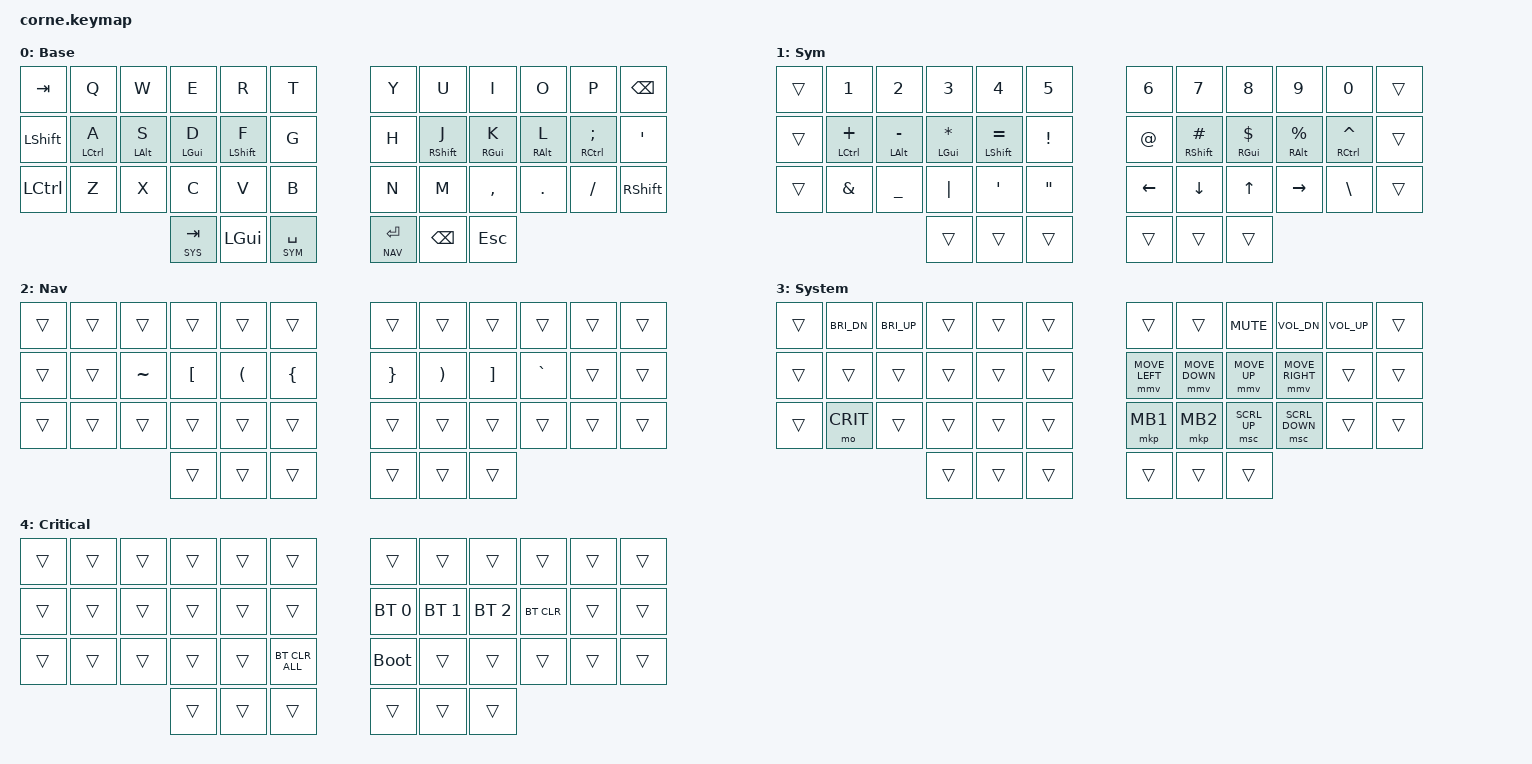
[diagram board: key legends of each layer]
#include <behaviors.dtsi>
#include <dt-bindings/zmk/bt.h>
#include <dt-bindings/zmk/keys.h>
#include "keys_de.h"
#include "qwertz_macos.h"
#define ZMK_POINTING_DEFAULT_MOVE_VAL 1500
#define ZMK_POINTING_DEFAULT_SCRL_VAL 20
#include <dt-bindings/zmk/pointing.h>


#define DEF 0
#define SYM 1
#define NAV 2
#define SYS 3
#define CRIT 4


/ {
    behaviors {
        hmm: homerow_mods {
            compatible = "zmk,behavior-hold-tap";
            #binding-cells = <2>;
            flavor = "balanced";
            tapping-term-ms = <280>;
            quick-tap-ms = <175>;
            require-prior-idle-ms = <150>;
            bindings = <&kp>, <&kp>;
            hold-trigger-on-release;
        };

        para: para {
            compatible = "zmk,behavior-tap-dance";
            #binding-cells = <0>;
            bindings = <&kp LEFT_PARENTHESIS>, <&kp RIGHT_PARENTHESIS>;
        };

        caps: caps {
            compatible = "zmk,behavior-caps-word";
            #binding-cells = <0>;
            continue-list = <MINUS BACKSPACE>;
        };

        paraless: paraless {
            compatible = "zmk,behavior-mod-morph";
            #binding-cells = <0>;
            bindings = <&kp LEFT_PARENTHESIS>, <&kp LESS_THAN>;
            mods = <(MOD_LSFT)>;
        };

        paragreat: paragreat {
            compatible = "zmk,behavior-mod-morph";
            #binding-cells = <0>;
            bindings = <&kp RIGHT_PARENTHESIS>, <&kp GREATER_THAN>;
            mods = <(MOD_LSFT)>;
        };


    };


    keymap {
        compatible = "zmk,keymap";

        DEF {
            display-name = "Base";
            bindings = <
&kp TAB    &kp Q        &kp W        &kp E       &kp R        &kp T        &kp Y    &kp U        &kp I          &kp O        &kp P               &kp BACKSPACE
&kp LSHFT  &hmm LCTRL A  &hmm LALT S   &hmm LGUI D  &hmm LSHFT F  &kp G        &kp H    &hmm RSHFT J  &hmm RGUI K     &hmm RALT L   &hmm RCTRL SEMICOLON &kp SQT
&kp LCTRL  &kp Z        &kp X        &kp C       &kp V        &kp B        &kp N    &kp M        &kp COMMA      &kp DOT      &kp SLASH           &kp RSHFT
                                     &lt SYS TAB    &kp LGUI       &lt SYM SPACE    &lt NAV RET  &kp BSPC       &kp ESC 
            >;
        };

        SYM {
            display-name = "Sym";
            bindings = <
&trans  &kp N1         &kp N2         &kp N3         &kp N4         &kp N5         &kp N6         &kp N7         &kp N8         &kp N9         &kp N0         &trans
&trans  &hmm LCTRL PLUS       &hmm LALT MINUS      &hmm LGUI STAR       &hmm LSHFT EQUAL      &kp EXCL       &kp AT         &hmm RSHFT HASH       &hmm RGUI DLLR       &hmm RALT PERCENT    &hmm RCTRL CARET      &trans
&trans  &kp AMPERSAND      &kp UNDERSCORE &kp PIPE       &kp SQT        &kp DQT        &kp LEFT       &kp DOWN       &kp UP         &kp RIGHT      &kp BSLH       &trans
                                       &trans        &trans         &trans         &trans         &trans         &trans
            >;
        };
 
        NAV {
            display-name = "Nav";
            bindings = <
&trans  &trans           &trans      &trans      &trans           &trans           &trans           &trans       &trans       &trans            &trans      &trans
&trans  &trans    &kp TILDE      &kp LBKT      &kp LPAR    &kp LBRC           &kp RBRC   &kp RPAR &kp RBKT   &kp GRAVE   &trans     &trans
&trans  &trans           &trans      &trans      &trans           &trans           &trans        &trans     &trans        &trans            &trans      &trans
                                     &trans    &trans           &trans        &trans          &trans        &trans
            >;
        };

        SYS {
            display-name = "System";
            bindings = <
&trans  &kp C_BRI_DN  &kp C_BRI_UP  &trans      &trans       &trans     &trans     &trans     &kp C_MUTE   &kp C_VOL_DN  &kp C_VOL_UP  &trans
&trans  &trans        &trans        &trans      &trans       &trans     &mmv MOVE_LEFT  &mmv MOVE_DOWN  &mmv MOVE_UP  &mmv MOVE_RIGHT &trans  &trans
&trans  &mo CRIT      &trans        &trans      &trans       &trans     &mkp MB1   &mkp MB2   &msc SCRL_UP &msc SCRL_DOWN &trans        &trans
                                     &trans     &trans       &trans     &trans     &trans     &trans            
            >;
        };

        CRIT {
            display-name = "Critical";
            bindings = <
&trans  &trans        &trans         &trans        &trans      &trans            &trans  &trans  &trans  &trans  &trans      &trans
&trans  &trans  &trans   &trans  &trans  &trans            &bt BT_SEL 0  &bt BT_SEL 1  &bt BT_SEL 2  &bt BT_CLR  &trans      &trans
&trans  &trans        &trans         &trans        &trans &bt BT_CLR_ALL    &bootloader  &trans  &trans  &trans  &trans      &trans
                                     &trans        &trans      &trans            &trans  &trans  &trans
            >;
        };
    };
};
